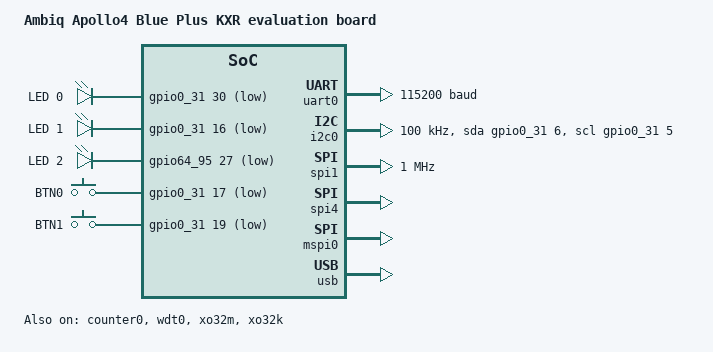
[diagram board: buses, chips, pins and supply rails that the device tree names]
/dts-v1/;
#include <ambiq/ambiq_apollo4p_blue.dtsi>
#include <zephyr/dt-bindings/input/input-event-codes.h>

#include "apollo4p_blue_kxr_evb-pinctrl.dtsi"

/ {
	model = "Ambiq Apollo4 Blue Plus KXR evaluation board";
	compatible = "ambiq,apollo4p_blue_kxr_evb";

	chosen {
		zephyr,itcm = &tcm;
		zephyr,sram = &sram0;
		zephyr,flash = &flash0;
		zephyr,console = &uart0;
		zephyr,shell-uart = &uart0;
		zephyr,uart-pipe = &uart0;
		zephyr,flash-controller = &flash;
		zephyr,bt-hci = &bt_hci_apollo;
	};

	aliases {
		watchdog0 = &wdt0;
		led0 = &led0;
		led1 = &led1;
		led2 = &led2;
		sw0 = &button0;
		sw1 = &button1;
	};

	leds {
		compatible = "gpio-leds";
		led0: led_0 {
			gpios = <&gpio0_31 30 GPIO_ACTIVE_LOW>;
			label = "LED 0";
		};
		led1: led_1 {
			gpios = <&gpio0_31 16 GPIO_ACTIVE_LOW>;
			label = "LED 1";
		};
		led2: led_2 {
			gpios = <&gpio64_95 27 GPIO_ACTIVE_LOW>;
			label = "LED 2";
		};
	};

	buttons {
		compatible = "gpio-keys";
		polling-mode;
		button0: button_0 {
			gpios = <&gpio0_31 17 (GPIO_PULL_UP | GPIO_ACTIVE_LOW)>;
			label = "BTN0";
			zephyr,code = <INPUT_KEY_0>;
			status = "okay";
		};
		button1: button_1 {
			gpios = <&gpio0_31 19 (GPIO_PULL_UP | GPIO_ACTIVE_LOW)>;
			label = "BTN1";
			zephyr,code = <INPUT_KEY_1>;
			status = "okay";
		};
	};
};

&uart0 {
	current-speed = <115200>;
	pinctrl-0 = <&uart0_default>;
	pinctrl-names = "default";
	status = "okay";
};

&counter0 {
	status = "okay";
};

&wdt0 {
	status = "okay";
};

&i2c0 {
	compatible = "ambiq,i2c";
	pinctrl-0 = <&i2c0_default>;
	pinctrl-names = "default";
	clock-frequency = <I2C_BITRATE_STANDARD>;
	scl-gpios = <&gpio0_31 5 (GPIO_OPEN_DRAIN | GPIO_PULL_UP)>;
	sda-gpios = <&gpio0_31 6 (GPIO_OPEN_DRAIN | GPIO_PULL_UP)>;
	status = "okay";
};

&spi1 {
	compatible = "ambiq,spi";
	pinctrl-0 = <&spi1_default>;
	pinctrl-names = "default";
	cs-gpios = <&gpio0_31 11 GPIO_ACTIVE_LOW>;
	clock-frequency = <DT_FREQ_M(1)>;
	status = "okay";
};

&spi4 {
	pinctrl-0 = <&spi4_default>;
	pinctrl-names = "default";
	status = "okay";
};

&mspi0 {
	pinctrl-0 = <&mspi0_default>;
	pinctrl-names = "default";
	status = "okay";
};

&flash0 {
	erase-block-size = <2048>;
	write-block-size = <16>;

	partitions {
		compatible = "fixed-partitions";
		#address-cells = <1>;
		#size-cells = <1>;

		/* Set 16KB of storage at the end of the 1952KB of flash */
		storage_partition: partition@1e4000 {
			label = "storage";
			reg = <0x001e4000 0x4000>;
		};
	};
};

&xo32m {
	pinctrl-0 = <&xo32m_default>;
	pinctrl-names = "default";
	status = "okay";
};

&xo32k {
	pinctrl-0 = <&xo32k_default>;
	pinctrl-names = "default";
	status = "okay";
};

zephyr_udc0: &usb {
	vddusb33-gpios = <&gpio0_31 13 (GPIO_PULL_UP)>;
	vddusb0p9-gpios = <&gpio0_31 15 (GPIO_PULL_UP)>;
	status = "okay";
};

&gpio0_31 {
	status = "okay";
};

&gpio32_63 {
	status = "okay";
};

&gpio64_95 {
	status = "okay";
};

&gpio96_127 {
	status = "okay";
};
